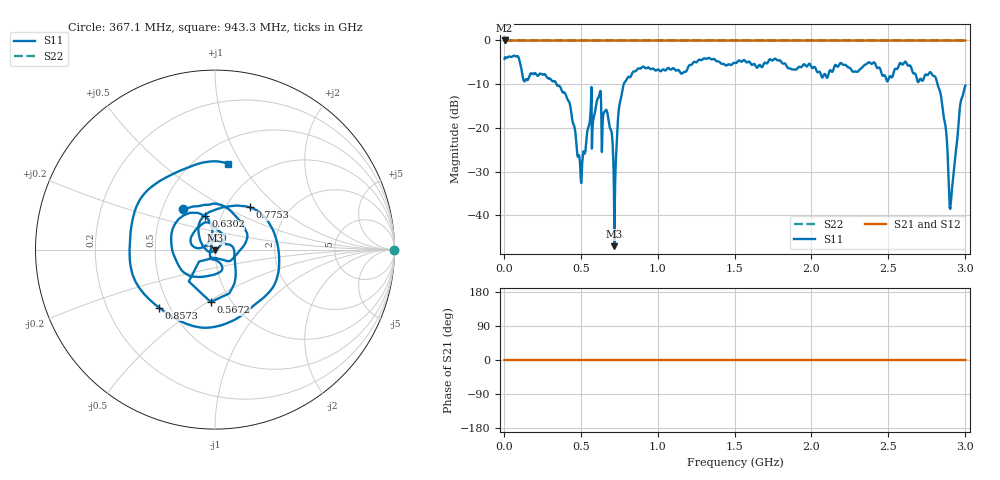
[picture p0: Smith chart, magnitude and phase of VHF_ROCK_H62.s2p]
!Keysight Technologies N9923A: A.08.09
!Date: Thursday, 02 August 2018 07:24:24
!Timezone: (GMT+08:00) Kuala Lumpur, Singapore
!Model: N9923A
!Serial: MY52412143
!GPS Latitude:
!GPS Longitude:
!GPS TimeStamp: 0001-01-01 00:00:00Z
!GPS Seconds Since Last Read: 0
!CHECKSUM:0094404006
!Correction: S11(ON U)S21()S12()S22()
!S2P File: Measurements:S11,S21,S12,S22:
# Hz S DB R 50
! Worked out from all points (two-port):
!   3000 points, 2 MHz to 3.002 GHz, reference 50 ohm
!   highest |S21| = 0.00 dB at 2 MHz (marker M1); lowest = 0.0 dB at 2 MHz (marker M2)
!   |S21| within 3 dB of the highest: start of sweep to end of sweep
!   lowest |S11| = -47.1 dB at 717.2 MHz (marker M3), VSWR 1.01, Z = 50.1 - j0.431 ohm
!   |S11| at or under -10 dB: 339.8 MHz to 777.6 MHz (437.9 MHz wide, 78.4 % of centre); 2.82 GHz to end of sweep
!   |S22| runs from 0.0 to 0.0 dB; largest |S21 - S12| = 0
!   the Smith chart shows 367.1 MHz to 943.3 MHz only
!   S11 on the Smith chart (normalised r, x): 367.1 MHz: 0.64, +0.31; 567.2 MHz: 0.81, -0.52; 630.2 MHz: 0.84, +0.33; 775.3 MHz: 1.29, +0.67; 857.3 MHz: 0.44, -0.35; 943.3 MHz: 0.71, +0.88
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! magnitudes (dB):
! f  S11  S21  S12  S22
! 2 MHz  -4.2  0.0  0.0  0.0
! 367.1 MHz  -10.8  0.0  0.0  0.0
! 422.1 MHz  -14.0  0.0  0.0  0.0
! 502.2 MHz  -32.2  0.0  0.0  0.0
! 567.2 MHz  -10.7  0.0  0.0  0.0
! 614.2 MHz  -13.0  0.0  0.0  0.0
! 630.2 MHz  -14.2  0.0  0.0  0.0
! 684.2 MHz  -19.4  0.0  0.0  0.0
! 717.2 MHz  -47.1  0.0  0.0  0.0
! 748.2 MHz  -15.1  0.0  0.0  0.0
! 775.3 MHz  -10.3  0.0  0.0  0.0
! 857.3 MHz  -6.9  0.0  0.0  0.0
! 943.3 MHz  -6.3  0.0  0.0  0.0
! 1.002 GHz  -6.6  0.0  0.0  0.0
! 1.503 GHz  -5.2  0.0  0.0  0.0
! 2.003 GHz  -6.2  0.0  0.0  0.0
! 2.503 GHz  -8.7  0.0  0.0  0.0
! 2.805 GHz  -8.3  0.0  0.0  0.0
! 2.865 GHz  -18.3  0.0  0.0  0.0
! 2.908 GHz  -36.9  0.0  0.0  0.0
! 2.969 GHz  -14.6  0.0  0.0  0.0
! 3.002 GHz  -10.3  0.0  0.0  0.0
